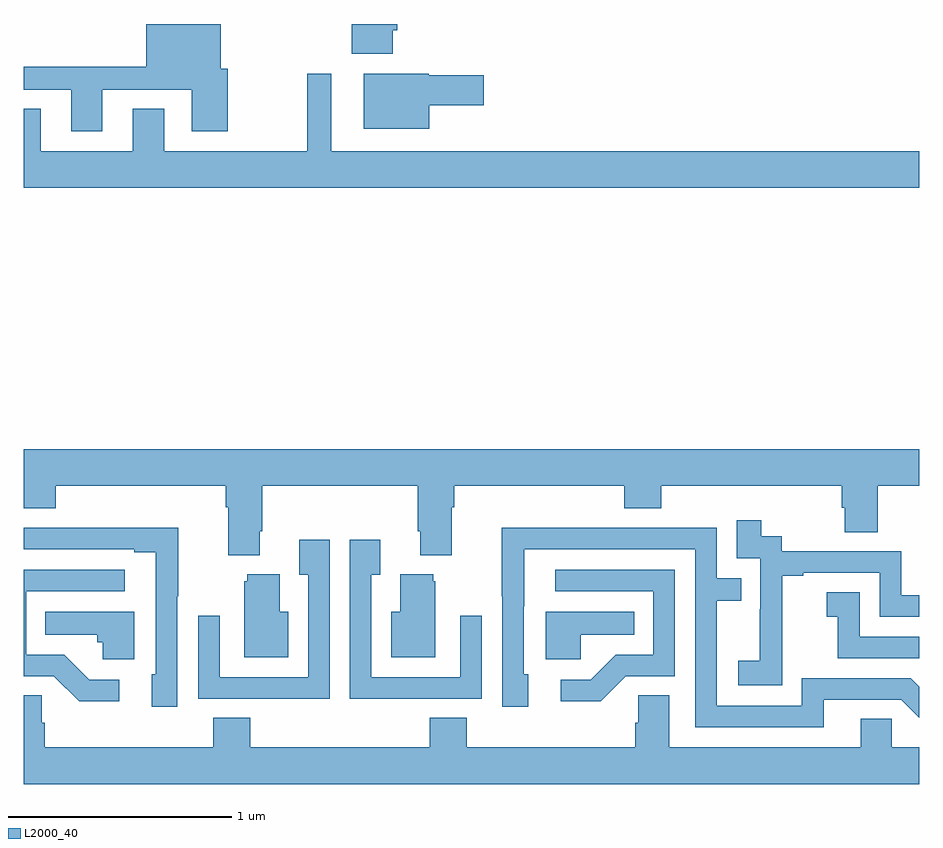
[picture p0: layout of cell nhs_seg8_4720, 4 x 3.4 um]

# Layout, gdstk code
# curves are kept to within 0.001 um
import gdstk
lib = gdstk.Library(unit=1e-6, precision=1e-09)
def P(c, l, *ps):  # polygons
    for p in ps: c.add(gdstk.Polygon(p, *l))
L2000_40 = (2000, 40)

nhs_seg8_4720 = lib.new_cell('nhs_seg8_4720')
P(nhs_seg8_4720, L2000_40, [(398.649,1115.872),(398.669,1115.872),(398.669,1115.9),(398.466,1115.9),(398.466,1115.768),(398.649,1115.768)],
  [(397.351,1115.607),(397.751,1115.607),(397.751,1115.421),(397.911,1115.421),(397.911,1115.7),(397.879,1115.7),(397.879,1115.9),(397.547,1115.9),(397.547,1115.708),(397,1115.708),(397,1115.607),(397.211,1115.607),(397.211,1115.421),(397.351,1115.421)],
  [(401,1115.332),(398.374,1115.332),(398.374,1115.677),(398.265,1115.677),(398.265,1115.332),(397.627,1115.332),(397.627,1115.522),(397.487,1115.522),(397.487,1115.332),(397.075,1115.332),(397.075,1115.522),(397,1115.522),(397,1115.168),(401,1115.168)],
  [(398.812,1115.537),(399.055,1115.537),(399.055,1115.672),(398.808,1115.672),(398.808,1115.677),(398.519,1115.677),(398.519,1115.432),(398.812,1115.432)],
  [(398.053,1113.634),(398.066,1113.634),(398.066,1113.836),(398.759,1113.836),(398.759,1113.634),(398.771,1113.634),(398.771,1113.527),(398.911,1113.527),(398.911,1113.74),(398.924,1113.74),(398.924,1113.836),(399.683,1113.836),(399.683,1113.737),(399.848,1113.737),(399.848,1113.836),(400.655,1113.836),(400.655,1113.738),(400.667,1113.738),(400.667,1113.628),(400.815,1113.628),(400.815,1113.836),(401,1113.836),(401,1114),(397,1114),(397,1113.737),(397.142,1113.737),(397.142,1113.836),(397.901,1113.836),(397.901,1113.74),(397.913,1113.74),(397.913,1113.527),(398.053,1113.527)],
  [(400.389,1113.151),(400.388,1113.151),(400.388,1113.435),(400.483,1113.435),(400.483,1113.447),(400.824,1113.447),(400.824,1113.252),(401,1113.252),(401,1113.348),(400.92,1113.348),(400.92,1113.543),(400.386,1113.543),(400.386,1113.612),(400.294,1113.612),(400.294,1113.682),(400.185,1113.682),(400.185,1113.513),(400.29,1113.513),(400.29,1113.284),(400.289,1113.284),(400.289,1113.055),(400.191,1113.055),(400.191,1112.945),(400.389,1112.945)],
  [(397.686,1113.343),(397.689,1113.343),(397.689,1113.65),(397.225,1113.65),(397.225,1113.648),(397,1113.648),(397,1113.552),(397.493,1113.552),(397.493,1113.54),(397.59,1113.54),(397.59,1112.994),(397.571,1112.994),(397.571,1112.85),(397.686,1112.85)],
  [(400.573,1112.88),(400.92,1112.88),(401,1112.8),(401,1112.938),(400.962,1112.976),(400.476,1112.976),(400.476,1112.853),(400.095,1112.853),(400.095,1113.322),(400.205,1113.322),(400.205,1113.423),(400.095,1113.423),(400.095,1113.648),(399.599,1113.648),(399.599,1113.65),(399.136,1113.65),(399.136,1113.343),(399.138,1113.343),(399.138,1112.85),(399.253,1112.85),(399.253,1112.994),(399.234,1112.994),(399.235,1113.552),(399.999,1113.552),(399.999,1112.757),(400.573,1112.757)],
  [(398.729,1112.886),(399.045,1112.886),(399.045,1113.256),(398.949,1113.256),(398.949,1112.982),(398.553,1112.982),(398.553,1113.439),(398.593,1113.439),(398.593,1113.595),(398.457,1113.595),(398.457,1112.885),(398.729,1112.885)],
  [(398.367,1113.595),(398.231,1113.595),(398.231,1113.439),(398.271,1113.439),(398.271,1112.982),(397.875,1112.982),(397.875,1113.256),(397.779,1113.256),(397.779,1112.886),(398.095,1112.886),(398.095,1112.885),(398.367,1112.885)],
  [(399.69,1112.985),(399.909,1112.985),(399.909,1113.462),(399.375,1113.462),(399.375,1113.366),(399.813,1113.366),(399.813,1113.081),(399.644,1113.081),(399.533,1112.97),(399.399,1112.97),(399.399,1112.873),(399.577,1112.873)],
  [(397.426,1112.97),(397.291,1112.97),(397.18,1113.081),(397.011,1113.081),(397.011,1113.366),(397.45,1113.366),(397.45,1113.462),(397,1113.462),(397,1112.985),(397.134,1112.985),(397.247,1112.873),(397.426,1112.873)],
  [(398.839,1113.411),(398.828,1113.411),(398.828,1113.442),(398.681,1113.442),(398.681,1113.274),(398.642,1113.274),(398.642,1113.071),(398.839,1113.071)],
  [(398.182,1113.274),(398.143,1113.274),(398.143,1113.442),(397.997,1113.442),(397.997,1113.411),(397.985,1113.411),(397.985,1113.071),(398.182,1113.071)],
  [(401,1113.162),(400.734,1113.162),(400.734,1113.361),(400.587,1113.361),(400.587,1113.251),(400.636,1113.251),(400.636,1113.066),(401,1113.066)],
  [(397.492,1113.274),(397.096,1113.274),(397.096,1113.17),(397.327,1113.17),(397.327,1113.138),(397.353,1113.138),(397.353,1113.062),(397.492,1113.062)],
  [(399.489,1113.17),(399.728,1113.17),(399.728,1113.274),(399.332,1113.274),(399.332,1113.062),(399.489,1113.062)],
  [(401,1112.668),(400.878,1112.668),(400.878,1112.795),(400.739,1112.795),(400.739,1112.668),(399.883,1112.668),(399.883,1112.9),(399.744,1112.9),(399.744,1112.777),(399.731,1112.777),(399.731,1112.668),(398.978,1112.668),(398.978,1112.801),(398.813,1112.801),(398.813,1112.668),(398.012,1112.668),(398.012,1112.801),(397.847,1112.801),(397.847,1112.668),(397.094,1112.668),(397.094,1112.777),(397.08,1112.777),(397.08,1112.9),(397,1112.9),(397,1112.504),(401,1112.504)])

lib.write_gds('nhs_seg8_4720.gds')
